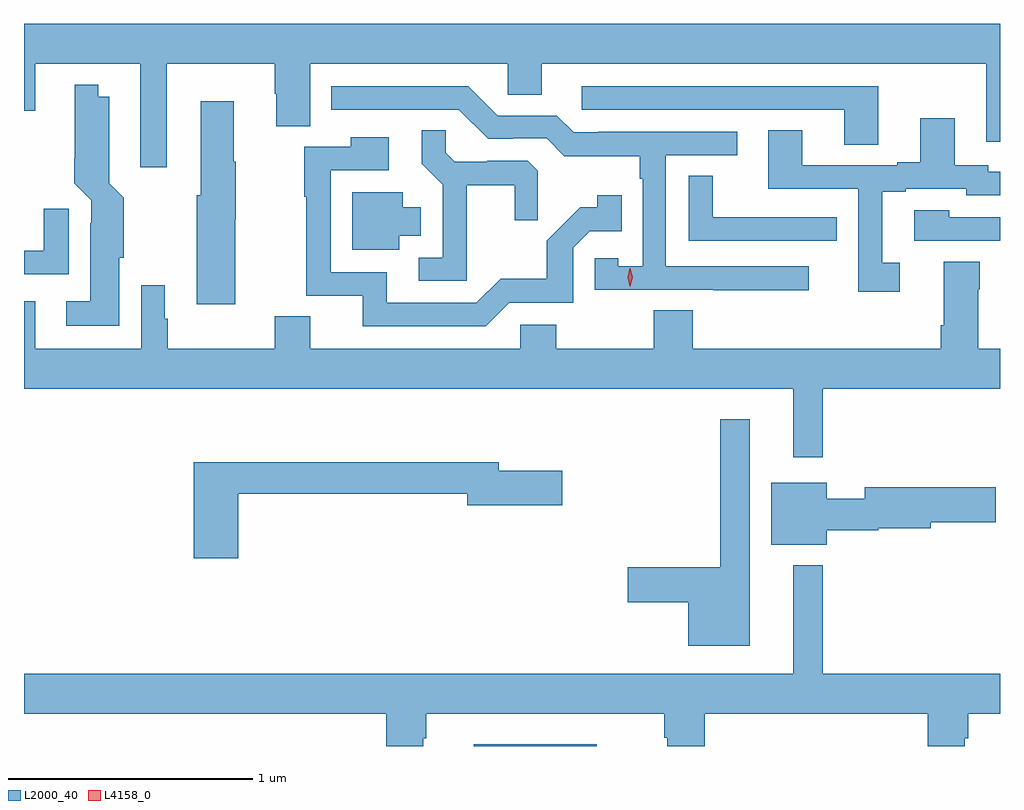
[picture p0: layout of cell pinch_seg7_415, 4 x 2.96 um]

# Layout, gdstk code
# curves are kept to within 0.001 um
import gdstk
lib = gdstk.Library(unit=1e-6, precision=1e-09)
def R(c, l, rs):  # rectangles x0, y0, x1, y1
    for r in rs: c.add(gdstk.rectangle(r[:2], r[2:], *l))
def P(c, l, *ps):  # polygons
    for p in ps: c.add(gdstk.Polygon(p, *l))
L2000_40 = (2000, 40)
L4158_0 = (4158, 0)

pinch_seg7_415 = lib.new_cell('pinch_seg7_415')
R(pinch_seg7_415, L2000_40, [(337.421,1071.079,337.924,1071.088)])
P(pinch_seg7_415, L2000_40, [(336.163,1073.876),(336.604,1073.876),(336.604,1073.754),(336.611,1073.754),(336.611,1073.62),(336.751,1073.62),(336.751,1073.876),(337.56,1073.876),(337.56,1073.749),(337.699,1073.749),(337.699,1073.876),(339.521,1073.876),(339.521,1073.556),(339.577,1073.556),(339.577,1074.04),(335.577,1074.04),(335.577,1073.684),(335.623,1073.684),(335.623,1073.876),(336.053,1073.876),(336.053,1073.451),(336.163,1073.451)],
  [(335.968,1073.082),(335.986,1073.082),(335.986,1073.327),(335.927,1073.386),(335.926,1073.74),(335.881,1073.74),(335.881,1073.791),(335.784,1073.791),(335.783,1073.386),(335.853,1073.316),(335.853,1073.222),(335.849,1073.222),(335.849,1072.903),(335.751,1072.903),(335.751,1072.802),(335.968,1072.802)],
  [(339.079,1073.784),(337.863,1073.784),(337.863,1073.688),(338.939,1073.688),(338.939,1073.545),(339.079,1073.545)],
  [(338.794,1073.046),(338.208,1073.046),(338.208,1073.502),(338.5,1073.502),(338.5,1073.598),(337.93,1073.598),(337.93,1073.595),(337.83,1073.595),(337.761,1073.664),(337.518,1073.664),(337.398,1073.784),(336.836,1073.784),(336.836,1073.688),(337.359,1073.688),(337.479,1073.568),(337.58,1073.568),(337.58,1073.571),(337.719,1073.571),(337.792,1073.498),(338.1,1073.498),(338.1,1073.405),(338.112,1073.405),(338.112,1073.047),(338.013,1073.047),(338.013,1073.079),(337.917,1073.079),(337.917,1072.95),(338.401,1072.95),(338.401,1072.948),(338.794,1072.948)],
  [(336.442,1073.238),(336.444,1073.238),(336.444,1073.474),(336.436,1073.474),(336.436,1073.722),(336.302,1073.722),(336.302,1073.338),(336.284,1073.338),(336.284,1072.89),(336.442,1072.89)],
  [(339.166,1073.061),(339.094,1073.061),(339.094,1073.352),(339.19,1073.352),(339.19,1073.364),(339.438,1073.364),(339.438,1073.337),(339.577,1073.337),(339.577,1073.433),(339.528,1073.433),(339.528,1073.46),(339.391,1073.46),(339.391,1073.653),(339.251,1073.653),(339.251,1073.473),(339.155,1073.473),(339.155,1073.46),(338.767,1073.46),(338.767,1073.603),(338.627,1073.603),(338.627,1073.364),(338.997,1073.364),(338.997,1072.941),(339.166,1072.941)],
  [(337.391,1073.378),(337.588,1073.378),(337.588,1073.235),(337.682,1073.235),(337.682,1073.437),(337.641,1073.478),(337.476,1073.478),(337.476,1073.475),(337.342,1073.475),(337.305,1073.512),(337.305,1073.603),(337.207,1073.603),(337.207,1073.467),(337.293,1073.381),(337.293,1073.082),(337.194,1073.082),(337.194,1072.986),(337.391,1072.986)],
  [(337.566,1072.896),(337.827,1072.896),(337.827,1073.121),(337.896,1073.19),(338.027,1073.19),(338.027,1073.338),(337.926,1073.338),(337.926,1073.288),(337.856,1073.288),(337.719,1073.15),(337.719,1072.995),(337.53,1072.995),(337.431,1072.896),(337.063,1072.896),(337.063,1073.022),(336.834,1073.022),(336.834,1073.439),(337.072,1073.439),(337.072,1073.575),(336.916,1073.575),(336.916,1073.535),(336.726,1073.535),(336.726,1073.332),(336.733,1073.332),(336.733,1072.926),(336.965,1072.926),(336.965,1072.8),(337.47,1072.8)],
  [(338.908,1073.246),(338.795,1073.246),(338.795,1073.247),(338.4,1073.247),(338.4,1073.417),(338.301,1073.417),(338.301,1073.151),(338.908,1073.151)],
  [(337.114,1073.171),(337.204,1073.171),(337.204,1073.287),(337.129,1073.287),(337.129,1073.35),(336.923,1073.35),(336.923,1073.114),(337.114,1073.114)],
  [(335.761,1073.281),(335.657,1073.281),(335.657,1073.109),(335.577,1073.109),(335.577,1073.013),(335.761,1073.013)],
  [(339.577,1073.247),(339.369,1073.247),(339.369,1073.275),(339.225,1073.275),(339.225,1073.151),(339.577,1073.151)],
  [(338.729,1072.263),(338.851,1072.263),(338.851,1072.544),(339.577,1072.544),(339.577,1072.708),(339.487,1072.708),(339.487,1072.952),(339.495,1072.952),(339.495,1073.065),(339.347,1073.065),(339.347,1072.804),(339.335,1072.804),(339.335,1072.708),(338.318,1072.708),(338.318,1072.865),(338.158,1072.865),(338.158,1072.708),(337.758,1072.708),(337.758,1072.806),(337.611,1072.806),(337.611,1072.708),(336.751,1072.708),(336.751,1072.841),(336.604,1072.841),(336.604,1072.708),(336.166,1072.708),(336.166,1072.83),(336.154,1072.83),(336.154,1072.969),(336.057,1072.969),(336.057,1072.708),(335.623,1072.708),(335.623,1072.903),(335.577,1072.903),(335.577,1072.544),(338.729,1072.544)],
  [(338.551,1072.42),(338.43,1072.42),(338.43,1071.812),(338.052,1071.812),(338.052,1071.67),(338.3,1071.67),(338.3,1071.491),(338.551,1071.491)],
  [(336.455,1072.114),(337.394,1072.114),(337.394,1072.067),(337.783,1072.067),(337.783,1072.209),(337.522,1072.209),(337.522,1072.243),(336.272,1072.243),(336.272,1071.849),(336.455,1071.849)],
  [(338.866,1071.964),(339.078,1071.964),(339.078,1071.972),(339.294,1071.972),(339.294,1071.998),(339.559,1071.998),(339.559,1072.14),(339.023,1072.14),(339.023,1072.093),(338.866,1072.093),(338.866,1072.159),(338.639,1072.159),(338.639,1071.905),(338.866,1071.905)],
  [(337.213,1071.111),(337.226,1071.111),(337.226,1071.212),(338.201,1071.212),(338.201,1071.113),(338.213,1071.113),(338.213,1071.079),(338.366,1071.079),(338.366,1071.212),(339.281,1071.212),(339.281,1071.079),(339.433,1071.079),(339.433,1071.111),(339.446,1071.111),(339.446,1071.212),(339.577,1071.212),(339.577,1071.376),(338.851,1071.376),(338.851,1071.82),(338.729,1071.82),(338.729,1071.376),(335.577,1071.376),(335.577,1071.212),(337.061,1071.212),(337.061,1071.079),(337.213,1071.079)])
P(pinch_seg7_415, L4158_0, [(338.06,1072.965),(338.051,1073.001),(338.06,1073.037),(338.061,1073.037),(338.061,1073.037),(338.071,1073.001),(338.061,1072.965),(338.061,1072.965)])

lib.write_gds('pinch_seg7_415.gds')
